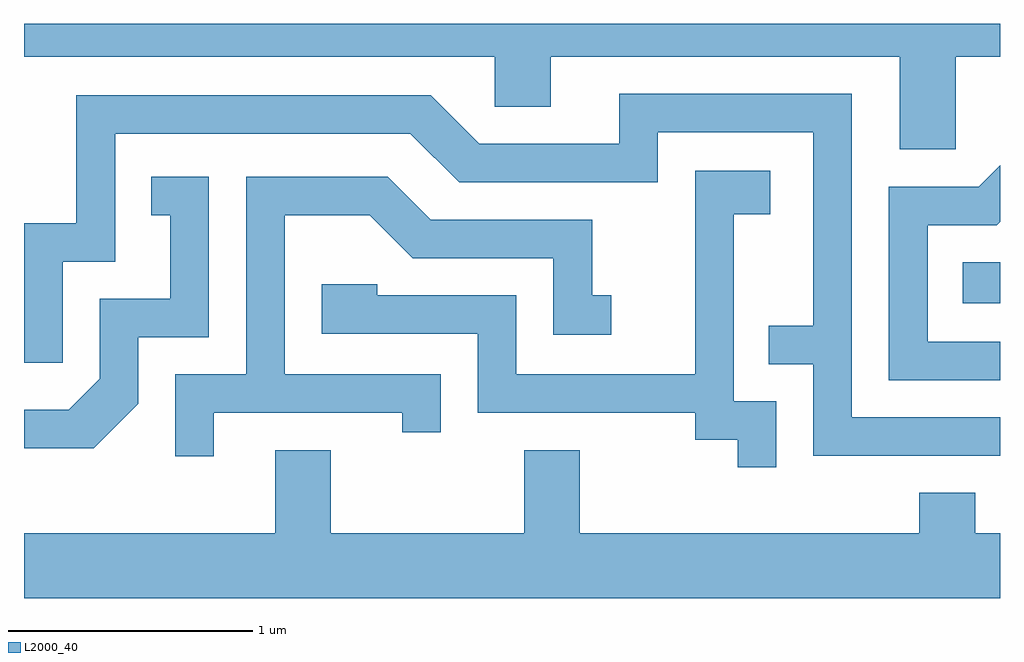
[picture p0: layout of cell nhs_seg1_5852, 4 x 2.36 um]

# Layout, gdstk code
import gdstk
lib = gdstk.Library(unit=1e-6, precision=1e-09)
def R(c, l, rs):  # rectangles x0, y0, x1, y1
    for r in rs: c.add(gdstk.rectangle(r[:2], r[2:], *l))
def P(c, l, *ps):  # polygons
    for p in ps: c.add(gdstk.Polygon(p, *l))
L2000_40 = (2000, 40)

nhs_seg1_5852 = lib.new_cell('nhs_seg1_5852')
R(nhs_seg1_5852, L2000_40, [(365.458,898.566,365.611,898.734)])
P(nhs_seg1_5852, L2000_40, [(365.429,899.576),(365.611,899.576),(365.611,899.712),(361.611,899.712),(361.611,899.576),(363.541,899.576),(363.541,899.371),(363.769,899.371),(363.769,899.576),(365.201,899.576),(365.201,899.196),(365.429,899.196)],
  [(365.611,898.099),(365.004,898.099),(365.004,899.424),(364.051,899.424),(364.051,899.219),(363.477,899.219),(363.277,899.419),(361.826,899.419),(361.826,898.894),(361.611,898.894),(361.611,898.321),(361.769,898.321),(361.769,898.736),(361.984,898.736),(361.984,899.261),(363.194,899.261),(363.394,899.061),(364.209,899.061),(364.209,899.266),(364.846,899.266),(364.846,898.474),(364.663,898.474),(364.663,898.316),(364.846,898.316),(364.846,897.941),(365.611,897.941)],
  [(365.611,898.409),(365.314,898.409),(365.314,898.886),(365.597,898.886),(365.611,898.9),(365.611,899.131),(365.524,899.044),(365.156,899.044),(365.156,898.251),(365.611,898.251)],
  [(364.694,898.164),(364.519,898.164),(364.519,898.931),(364.669,898.931),(364.669,899.109),(364.361,899.109),(364.361,898.274),(363.629,898.274),(363.629,898.599),(363.059,898.599),(363.059,898.644),(362.831,898.644),(362.831,898.441),(363.471,898.441),(363.471,898.116),(364.361,898.116),(364.361,898.006),(364.536,898.006),(364.536,897.893),(364.694,897.893)],
  [(362.389,898.116),(363.161,898.116),(363.161,898.038),(363.319,898.038),(363.319,898.274),(362.679,898.274),(362.679,898.926),(363.029,898.926),(363.204,898.751),(363.781,898.751),(363.781,898.436),(364.018,898.436),(364.018,898.599),(363.939,898.599),(363.939,898.909),(363.277,898.909),(363.102,899.084),(362.521,899.084),(362.521,898.274),(362.231,898.274),(362.231,897.938),(362.389,897.938)],
  [(362.079,898.154),(362.079,898.426),(362.369,898.426),(362.369,899.084),(362.133,899.084),(362.133,898.926),(362.211,898.926),(362.211,898.584),(361.921,898.584),(361.921,898.257),(361.794,898.129),(361.611,898.129),(361.611,897.971),(361.897,897.971)],
  [(365.611,897.624),(365.509,897.624),(365.509,897.789),(365.281,897.789),(365.281,897.624),(363.889,897.624),(363.889,897.964),(363.661,897.964),(363.661,897.624),(362.869,897.624),(362.869,897.964),(362.641,897.964),(362.641,897.624),(361.611,897.624),(361.611,897.356),(365.611,897.356)])

lib.write_gds('nhs_seg1_5852.gds')
